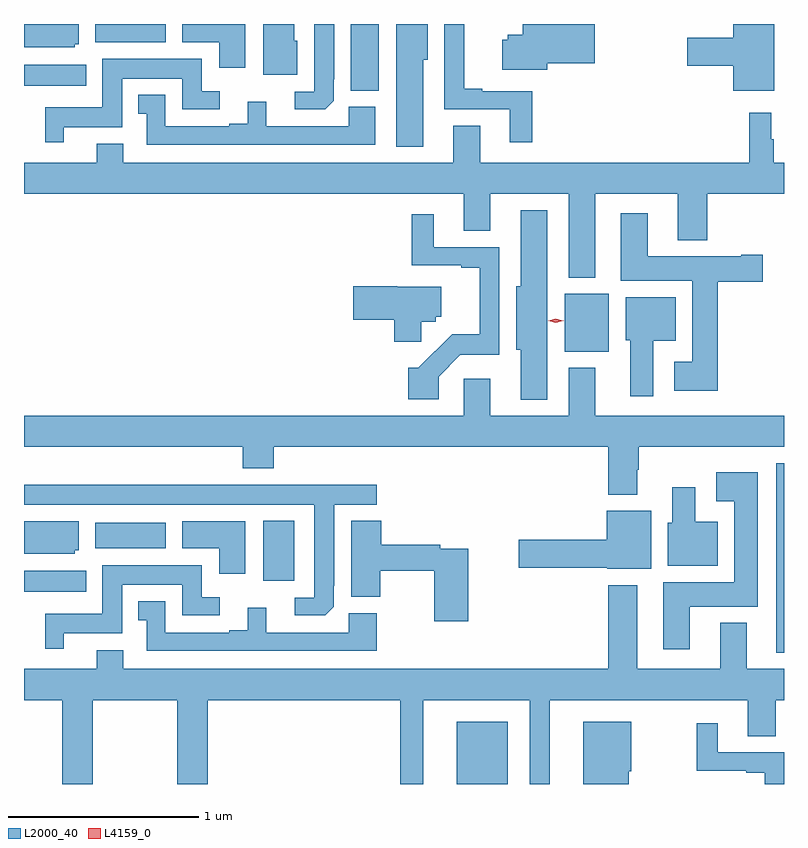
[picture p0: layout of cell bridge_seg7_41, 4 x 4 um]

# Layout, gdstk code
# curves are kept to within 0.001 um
import gdstk
lib = gdstk.Library(unit=1e-6, precision=1e-09)
def R(c, l, rs):  # rectangles x0, y0, x1, y1
    for r in rs: c.add(gdstk.rectangle(r[:2], r[2:], *l))
def P(c, l, *ps):  # polygons
    for p in ps: c.add(gdstk.Polygon(p, *l))
L2000_40 = (2000, 40)
L4159_0 = (4159, 0)

bridge_seg7_41 = lib.new_cell('bridge_seg7_41')
R(bridge_seg7_41, L2000_40, [(976.643,1041.466,976.912,1041.793), (978.323,1042.157,978.365,1043.155), (974.365,1042.478,974.692,1042.588), (975.623,1042.536,975.787,1042.852), (974.739,1042.706,975.112,1042.84), (977.21,1043.741,977.443,1044.046), (976.085,1045.115,976.231,1045.466), (974.365,1045.142,974.692,1045.252), (974.739,1045.37,975.112,1045.466)])
P(bridge_seg7_41, L2000_40, [(975.802,1045.377),(975.787,1045.377),(975.787,1045.466),(975.623,1045.466),(975.623,1045.2),(975.802,1045.2)],
  [(975.996,1045.063),(975.996,1045.174),(975.997,1045.174),(975.997,1045.466),(975.893,1045.466),(975.893,1045.11),(975.789,1045.11),(975.789,1045.017),(975.95,1045.017)],
  [(976.465,1045.278),(976.489,1045.278),(976.489,1045.466),(976.325,1045.466),(976.325,1044.821),(976.465,1044.821)],
  [(977.039,1045.113),(976.777,1045.113),(976.777,1045.126),(976.681,1045.126),(976.681,1045.466),(976.577,1045.466),(976.577,1045.017),(976.922,1045.017),(976.922,1044.843),(977.039,1044.843)],
  [(977.119,1045.259),(977.369,1045.259),(977.369,1045.466),(976.991,1045.466),(976.991,1045.41),(976.911,1045.41),(976.911,1045.383),(976.883,1045.383),(976.883,1045.226),(977.119,1045.226)],
  [(978.313,1045.466),(978.098,1045.466),(978.098,1045.394),(977.856,1045.394),(977.856,1045.247),(978.098,1045.247),(978.098,1045.115),(978.313,1045.115)],
  [(975.529,1045.466),(975.197,1045.466),(975.197,1045.37),(975.392,1045.37),(975.392,1045.236),(975.529,1045.236)],
  [(974.631,1045.359),(974.653,1045.359),(974.653,1045.466),(974.365,1045.466),(974.365,1045.343),(974.631,1045.343)],
  [(974.575,1044.923),(974.881,1044.923),(974.881,1045.178),(975.197,1045.178),(975.197,1045.017),(975.394,1045.017),(975.394,1045.113),(975.301,1045.113),(975.301,1045.282),(974.777,1045.282),(974.777,1045.027),(974.477,1045.027),(974.477,1044.843),(974.575,1044.843)],
  [(976.213,1045.03),(976.074,1045.03),(976.074,1044.927),(975.64,1044.927),(975.64,1045.057),(975.542,1045.057),(975.542,1044.94),(975.446,1044.94),(975.446,1044.927),(975.108,1044.927),(975.108,1045.093),(974.966,1045.093),(974.966,1044.993),(975.012,1044.993),(975.012,1044.831),(976.213,1044.831)],
  [(977.371,1044.572),(977.807,1044.572),(977.807,1044.329),(977.96,1044.329),(977.96,1044.572),(978.365,1044.572),(978.365,1044.736),(978.31,1044.736),(978.31,1044.86),(978.298,1044.86),(978.298,1045),(978.181,1045),(978.181,1044.736),(976.765,1044.736),(976.765,1044.93),(976.625,1044.93),(976.625,1044.736),(974.887,1044.736),(974.887,1044.835),(974.747,1044.835),(974.747,1044.736),(974.365,1044.736),(974.365,1044.572),(976.679,1044.572),(976.679,1044.378),(976.819,1044.378),(976.819,1044.572),(977.231,1044.572),(977.231,1044.131),(977.371,1044.131)],
  [(977.119,1044.487),(976.979,1044.487),(976.979,1044.087),(976.955,1044.087),(976.955,1043.751),(976.979,1043.751),(976.979,1043.489),(977.119,1043.489)],
  [(978.017,1044.11),(978.253,1044.11),(978.253,1044.252),(978.14,1044.252),(978.14,1044.244),(977.647,1044.244),(977.647,1044.469),(977.507,1044.469),(977.507,1044.116),(977.882,1044.116),(977.882,1043.689),(977.787,1043.689),(977.787,1043.537),(978.017,1043.537)],
  [(976.548,1043.61),(976.662,1043.724),(976.867,1043.724),(976.867,1044.291),(976.522,1044.291),(976.522,1044.466),(976.405,1044.466),(976.405,1044.195),(976.667,1044.195),(976.667,1044.183),(976.763,1044.183),(976.763,1043.834),(976.619,1043.834),(976.441,1043.656),(976.388,1043.656),(976.388,1043.49),(976.548,1043.49)],
  [(976.457,1043.898),(976.533,1043.898),(976.533,1043.925),(976.561,1043.925),(976.561,1044.082),(976.329,1044.082),(976.329,1044.087),(976.098,1044.087),(976.098,1043.909),(976.313,1043.909),(976.313,1043.793),(976.457,1043.793)],
  [(977.677,1043.798),(977.794,1043.798),(977.794,1044.028),(977.531,1044.028),(977.531,1043.802),(977.555,1043.802),(977.555,1043.507),(977.677,1043.507)],
  [(977.441,1042.988),(977.593,1042.988),(977.593,1043.12),(977.601,1043.12),(977.601,1043.24),(978.365,1043.24),(978.365,1043.404),(977.371,1043.404),(977.371,1043.656),(977.231,1043.656),(977.231,1043.404),(976.819,1043.404),(976.819,1043.599),(976.68,1043.599),(976.68,1043.404),(974.365,1043.404),(974.365,1043.24),(975.515,1043.24),(975.515,1043.129),(975.68,1043.129),(975.68,1043.24),(977.441,1043.24)],
  [(977.869,1042.4),(978.226,1042.4),(978.226,1043.107),(978.009,1043.107),(978.009,1042.955),(978.104,1042.955),(978.104,1042.528),(977.729,1042.528),(977.729,1042.176),(977.869,1042.176)],
  [(975.996,1042.399),(975.997,1042.937),(976.222,1042.937),(976.222,1043.041),(974.365,1043.041),(974.365,1042.937),(975.893,1042.937),(975.893,1042.446),(975.789,1042.446),(975.789,1042.353),(975.95,1042.353)],
  [(978.016,1042.846),(977.899,1042.846),(977.899,1043.029),(977.777,1043.029),(977.777,1042.842),(977.753,1042.842),(977.753,1042.616),(978.016,1042.616)],
  [(977.665,1042.903),(977.432,1042.903),(977.432,1042.751),(976.968,1042.751),(976.968,1042.603),(977.436,1042.603),(977.436,1042.598),(977.665,1042.598)],
  [(976.703,1042.704),(976.556,1042.704),(976.556,1042.724),(976.244,1042.724),(976.244,1042.852),(976.088,1042.852),(976.088,1042.451),(976.239,1042.451),(976.239,1042.588),(976.525,1042.588),(976.525,1042.323),(976.703,1042.323)],
  [(974.631,1042.695),(974.653,1042.695),(974.653,1042.849),(974.365,1042.849),(974.365,1042.679),(974.631,1042.679)],
  [(975.529,1042.849),(975.197,1042.849),(975.197,1042.706),(975.392,1042.706),(975.392,1042.572),(975.529,1042.572)],
  [(974.575,1042.259),(974.881,1042.259),(974.881,1042.514),(975.197,1042.514),(975.197,1042.353),(975.394,1042.353),(975.394,1042.449),(975.301,1042.449),(975.301,1042.618),(974.777,1042.618),(974.777,1042.363),(974.477,1042.363),(974.477,1042.179),(974.575,1042.179)],
  [(974.727,1041.908),(975.172,1041.908),(975.172,1041.466),(975.332,1041.466),(975.332,1041.908),(976.344,1041.908),(976.344,1041.466),(976.465,1041.466),(976.465,1041.908),(977.027,1041.908),(977.027,1041.466),(977.131,1041.466),(977.131,1041.908),(978.173,1041.908),(978.173,1041.718),(978.321,1041.718),(978.321,1041.908),(978.365,1041.908),(978.365,1042.072),(978.169,1042.072),(978.169,1042.315),(978.029,1042.315),(978.029,1042.072),(977.593,1042.072),(977.593,1042.513),(977.441,1042.513),(977.441,1042.072),(974.887,1042.072),(974.887,1042.171),(974.747,1042.171),(974.747,1042.072),(974.365,1042.072),(974.365,1041.908),(974.567,1041.908),(974.567,1041.466),(974.727,1041.466)],
  [(976.221,1042.366),(976.074,1042.366),(976.074,1042.263),(975.64,1042.263),(975.64,1042.393),(975.542,1042.393),(975.542,1042.276),(975.446,1042.276),(975.446,1042.263),(975.108,1042.263),(975.108,1042.429),(974.966,1042.429),(974.966,1042.329),(975.012,1042.329),(975.012,1042.167),(976.221,1042.167)],
  [(977.548,1041.534),(977.56,1041.534),(977.56,1041.793),(977.309,1041.793),(977.309,1041.466),(977.548,1041.466)],
  [(978.365,1041.633),(978.016,1041.633),(978.016,1041.787),(977.907,1041.787),(977.907,1041.537),(978.167,1041.537),(978.167,1041.525),(978.263,1041.525),(978.263,1041.466),(978.365,1041.466)])
P(bridge_seg7_41, L4159_0, [(977.164,1043.894),(977.123,1043.903),(977.123,1043.904),(977.123,1043.904),(977.164,1043.914),(977.204,1043.904),(977.205,1043.904),(977.204,1043.903)])

lib.write_gds('bridge_seg7_41.gds')
